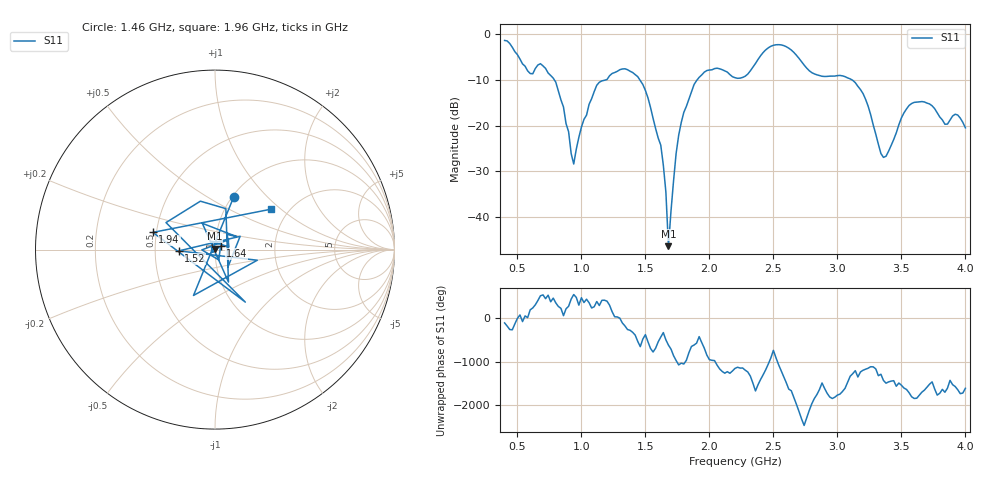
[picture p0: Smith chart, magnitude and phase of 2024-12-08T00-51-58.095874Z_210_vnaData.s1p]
!Created with skrf (http://scikit-rf.org).
# Hz S RI R 50.0
!freq ReS11 ImS11
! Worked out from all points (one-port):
!   181 points, 400 MHz to 4 GHz, reference 50 ohm
!   lowest |S11| = -46.3 dB at 1.68 GHz (marker M1), VSWR 1.01, Z = 49.9 + j0.464 ohm
!   |S11| at or under -10 dB: 789 MHz to 1.188 GHz (398.9 MHz wide, 40.4 % of centre); 1.457 GHz to 1.904 GHz (446.4 MHz wide, 26.6 % of centre); 3.115 GHz to end of sweep
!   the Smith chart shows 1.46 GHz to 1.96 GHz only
!   S11 on the Smith chart (normalised r, x): 1.46 GHz: 1.02, +0.66; 1.52 GHz: 0.66, -0.01; 1.64 GHz: 1.06, +0.04; 1.94 GHz: 0.48, +0.11; 1.96 GHz: 1.63, +0.86
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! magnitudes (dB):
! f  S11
! 400 MHz  -1.4
! 600 MHz  -8.6
! 720 MHz  -7.5
! 860 MHz  -15.9
! 940 MHz  -28.4
! 1 GHz  -20.3
! 1.12 GHz  -11.2
! 1.3 GHz  -7.8
! 1.46 GHz  -10.1
! 1.52 GHz  -13.9
! 1.64 GHz  -28.6
! 1.66 GHz  -34.5
! 1.68 GHz  -46.3
! 1.72 GHz  -32.0
! 1.76 GHz  -22.1
! 1.88 GHz  -11.0
! 1.94 GHz  -8.9
! 1.96 GHz  -8.3
! 2.2 GHz  -9.5
! 2.48 GHz  -2.6
! 2.66 GHz  -4.0
! 2.82 GHz  -8.7
! 3.1 GHz  -9.8
! 3.22 GHz  -14.2
! 3.36 GHz  -26.9
! 3.56 GHz  -15.6
! 3.94 GHz  -17.7
! 4 GHz  -20.5
